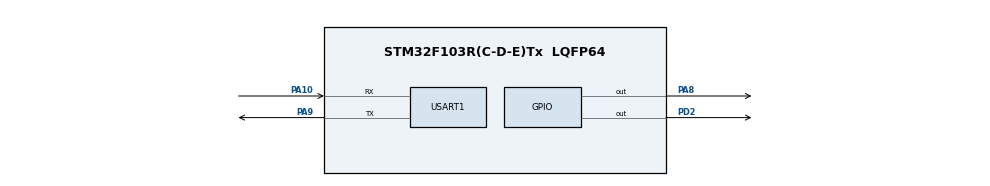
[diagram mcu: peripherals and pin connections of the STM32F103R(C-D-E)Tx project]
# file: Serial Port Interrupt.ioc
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Mcu.Family=STM32F1
Mcu.Name=STM32F103R(C-D-E)Tx
Mcu.Package=LQFP64
NVIC.PriorityGroup=NVIC_PRIORITYGROUP_4
NVIC.USART1_IRQn=true\:0\:0\:false\:false\:true\:true\:true\:true
PA10.Mode=Asynchronous
PA10.Signal=USART1_RX
PA13.Mode=Serial_Wire
PA13.Signal=SYS_JTMS-SWDIO
PA14.Mode=Serial_Wire
PA14.Signal=SYS_JTCK-SWCLK
PA8.GPIO_PuPd=GPIO_PULLUP
PA8.Signal=GPIO_Output
PA9.Mode=Asynchronous
PA9.Signal=USART1_TX
PD2.GPIO_PuPd=GPIO_PULLUP
PD2.Signal=GPIO_Output
ProjectManager.HeapSize=0x200
ProjectManager.StackSize=0x400
ProjectManager.TargetToolchain=MDK-ARM V5.32
RCC.APB1Freq_Value=8000000
RCC.APB2Freq_Value=8000000
USART1.VirtualMode=VM_ASYNC
board=custom

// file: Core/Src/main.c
/* USER CODE BEGIN Header */
/**
  ******************************************************************************
  * @file           : main.c
  * @brief          : Main program body
  ******************************************************************************
  * @attention
  *
  * Copyright (c) 2026 STMicroelectronics.
  * All rights reserved.
  *
  * This software is licensed under terms that can be found in the LICENSE file
  * in the root directory of this software component.
  * If no LICENSE file comes with this software, it is provided AS-IS.
  *
  ******************************************************************************
  */
/* USER CODE END Header */
#include "main.h"

UART_HandleTypeDef huart1;

void SystemClock_Config(void);
static void MX_GPIO_Init(void);
static void MX_USART1_UART_Init(void);

/* USER CODE BEGIN 0 */
uint8_t receive[3];

void HAL_UART_RxCpltCallback(UART_HandleTypeDef *huart)
{
	HAL_UART_Transmit_IT (&huart1 ,receive,3);
	if (receive[1]=='0')
	{
		if (receive[2]=='0')
			HAL_GPIO_WritePin (GPIOA,GPIO_PIN_8 ,GPIO_PIN_SET);
		if (receive[2]=='1')
			HAL_GPIO_WritePin (GPIOA,GPIO_PIN_8 ,GPIO_PIN_RESET);
		}
	if (receive[1]=='1')
	{
		if (receive[2]=='0')
			HAL_GPIO_WritePin (GPIOD,GPIO_PIN_2 ,GPIO_PIN_SET);
		if (receive[2]=='1')
			HAL_GPIO_WritePin (GPIOD,GPIO_PIN_2 ,GPIO_PIN_RESET);
		}

		HAL_UART_Receive_IT (&huart1 ,receive,3);
}
/* USER CODE END 0 */

int main(void)
{

  /* MCU Configuration--------------------------------------------------------*/

  /* Reset of all peripherals, Initializes the Flash interface and the Systick. */
  HAL_Init();

  /* Configure the system clock */
  SystemClock_Config();

  /* Initialize all configured peripherals */
  MX_GPIO_Init();
  MX_USART1_UART_Init();
  /* USER CODE BEGIN 2 */

HAL_UART_Receive_IT (&huart1 ,receive,3);
  /* USER CODE END 2 */

  /* Infinite loop */
  while (1)
  {

  }
}

void SystemClock_Config(void)
{
  RCC_OscInitTypeDef RCC_OscInitStruct = {0};
  RCC_ClkInitTypeDef RCC_ClkInitStruct = {0};

  /** Initializes the RCC Oscillators according to the specified parameters
  * in the RCC_OscInitTypeDef structure.
  */
  RCC_OscInitStruct.OscillatorType = RCC_OSCILLATORTYPE_HSI;
  RCC_OscInitStruct.HSIState = RCC_HSI_ON;
  RCC_OscInitStruct.HSICalibrationValue = RCC_HSICALIBRATION_DEFAULT;
  RCC_OscInitStruct.PLL.PLLState = RCC_PLL_NONE;
  if (HAL_RCC_OscConfig(&RCC_OscInitStruct) != HAL_OK)
  {
    Error_Handler();
  }

  /** Initializes the CPU, AHB and APB buses clocks
  */
  RCC_ClkInitStruct.ClockType = RCC_CLOCKTYPE_HCLK|RCC_CLOCKTYPE_SYSCLK
                              |RCC_CLOCKTYPE_PCLK1|RCC_CLOCKTYPE_PCLK2;
  RCC_ClkInitStruct.SYSCLKSource = RCC_SYSCLKSOURCE_HSI;
  RCC_ClkInitStruct.AHBCLKDivider = RCC_SYSCLK_DIV1;
  RCC_ClkInitStruct.APB1CLKDivider = RCC_HCLK_DIV1;
  RCC_ClkInitStruct.APB2CLKDivider = RCC_HCLK_DIV1;

  if (HAL_RCC_ClockConfig(&RCC_ClkInitStruct, FLASH_LATENCY_0) != HAL_OK)
  {
    Error_Handler();
  }
}

static void MX_USART1_UART_Init(void)
{

  huart1.Instance = USART1;
  huart1.Init.BaudRate = 115200;
  huart1.Init.WordLength = UART_WORDLENGTH_8B;
  huart1.Init.StopBits = UART_STOPBITS_1;
  huart1.Init.Parity = UART_PARITY_NONE;
  huart1.Init.Mode = UART_MODE_TX_RX;
  huart1.Init.HwFlowCtl = UART_HWCONTROL_NONE;
  huart1.Init.OverSampling = UART_OVERSAMPLING_16;
  if (HAL_UART_Init(&huart1) != HAL_OK)
  {
    Error_Handler();
  }

}

static void MX_GPIO_Init(void)
{
  GPIO_InitTypeDef GPIO_InitStruct = {0};

  /* GPIO Ports Clock Enable */
  __HAL_RCC_GPIOA_CLK_ENABLE();
  __HAL_RCC_GPIOD_CLK_ENABLE();

  /*Configure GPIO pin Output Level */
  HAL_GPIO_WritePin(GPIOA, GPIO_PIN_8, GPIO_PIN_RESET);

  /*Configure GPIO pin Output Level */
  HAL_GPIO_WritePin(GPIOD, GPIO_PIN_2, GPIO_PIN_RESET);

  /*Configure GPIO pin : PA8 */
  GPIO_InitStruct.Pin = GPIO_PIN_8;
  GPIO_InitStruct.Mode = GPIO_MODE_OUTPUT_PP;
  GPIO_InitStruct.Pull = GPIO_PULLUP;
  GPIO_InitStruct.Speed = GPIO_SPEED_FREQ_LOW;
  HAL_GPIO_Init(GPIOA, &GPIO_InitStruct);

  /*Configure GPIO pin : PD2 */
  GPIO_InitStruct.Pin = GPIO_PIN_2;
  GPIO_InitStruct.Mode = GPIO_MODE_OUTPUT_PP;
  GPIO_InitStruct.Pull = GPIO_PULLUP;
  GPIO_InitStruct.Speed = GPIO_SPEED_FREQ_LOW;
  HAL_GPIO_Init(GPIOD, &GPIO_InitStruct);

}

void Error_Handler(void)
{
  __disable_irq();
  while (1)
  {
  }
}
